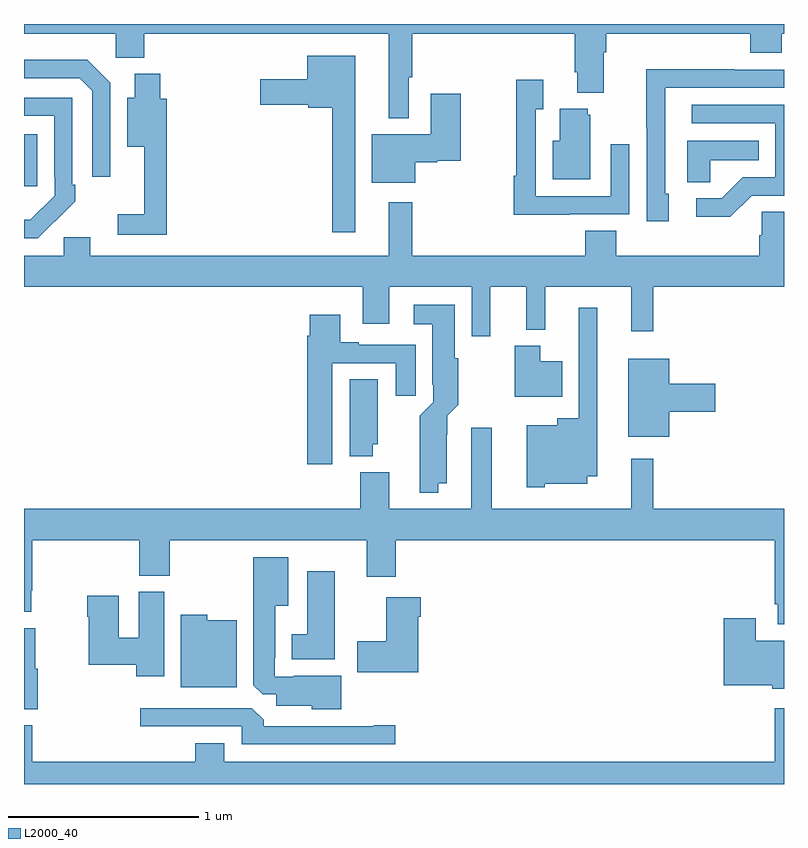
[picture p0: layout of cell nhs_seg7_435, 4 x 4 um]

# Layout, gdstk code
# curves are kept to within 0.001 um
import gdstk
lib = gdstk.Library(unit=1e-6, precision=1e-09)
def R(c, l, rs):  # rectangles x0, y0, x1, y1
    for r in rs: c.add(gdstk.rectangle(r[:2], r[2:], *l))
def P(c, l, *ps):  # polygons
    for p in ps: c.add(gdstk.Polygon(p, *l))
L2000_40 = (2000, 40)

nhs_seg7_435 = lib.new_cell('nhs_seg7_435')
R(nhs_seg7_435, L2000_40, [(145,1001.145,145.069,1001.419)])
P(nhs_seg7_435, L2000_40, [(147.025,1001.719),(147.043,1001.719),(147.043,1001.948),(147.899,1001.948),(147.899,1001.746),(147.911,1001.746),(147.911,1001.639),(148.051,1001.639),(148.051,1001.852),(148.064,1001.852),(148.064,1001.948),(148.823,1001.948),(148.823,1001.849),(148.988,1001.849),(148.988,1001.948),(149,1001.948),(149,1002),(145,1002),(145,1001.948),(145.482,1001.948),(145.482,1001.822),(145.634,1001.822),(145.634,1001.948),(146.921,1001.948),(146.921,1001.504),(147.025,1001.504)],
  [(146.743,1001.833),(146.492,1001.833),(146.492,1001.71),(146.244,1001.71),(146.244,1001.576),(146.496,1001.576),(146.496,1001.558),(146.622,1001.558),(146.622,1000.905),(146.743,1000.905)],
  [(145.455,1001.691),(145.334,1001.812),(145,1001.812),(145,1001.715),(145.293,1001.715),(145.359,1001.649),(145.359,1001.196),(145.455,1001.196)],
  [(148.393,1001.106),(148.374,1001.106),(148.374,1001.664),(149,1001.664),(149,1001.76),(148.739,1001.76),(148.739,1001.762),(148.276,1001.762),(148.276,1001.455),(148.278,1001.455),(148.278,1000.962),(148.393,1000.962)],
  [(145.751,1001.607),(145.718,1001.607),(145.718,1001.737),(145.583,1001.737),(145.583,1001.611),(145.544,1001.611),(145.544,1001.354),(145.634,1001.354),(145.634,1000.999),(145.494,1000.999),(145.494,1000.89),(145.751,1000.89)],
  [(147.869,1000.998),(148.185,1000.998),(148.185,1001.368),(148.089,1001.368),(148.089,1001.094),(147.693,1001.094),(147.693,1001.551),(147.733,1001.551),(147.733,1001.707),(147.592,1001.707),(147.592,1001.201),(147.577,1001.201),(147.577,1000.997),(147.869,1000.997)],
  [(147.058,1001.272),(147.174,1001.272),(147.174,1001.279),(147.298,1001.279),(147.298,1001.632),(147.14,1001.632),(147.14,1001.419),(146.831,1001.419),(146.831,1001.165),(147.058,1001.165)],
  [(145.163,1000.963),(145.164,1000.962),(145.269,1001.067),(145.269,1001.155),(145.254,1001.155),(145.254,1001.613),(145,1001.613),(145,1001.517),(145.158,1001.517),(145.158,1001.197),(145.161,1001.197),(145.161,1001.097),(145.033,1000.969),(145,1000.969),(145,1000.872),(145.072,1000.872)],
  [(148.83,1001.097),(149,1001.097),(149,1001.574),(148.515,1001.574),(148.515,1001.478),(148.953,1001.478),(148.953,1001.193),(148.784,1001.193),(148.673,1001.082),(148.539,1001.082),(148.539,1000.985),(148.717,1000.985)],
  [(147.979,1001.523),(147.968,1001.523),(147.968,1001.554),(147.821,1001.554),(147.821,1001.386),(147.782,1001.386),(147.782,1001.183),(147.979,1001.183)],
  [(148.611,1001.282),(148.868,1001.282),(148.868,1001.386),(148.49,1001.386),(148.49,1001.167),(148.611,1001.167)],
  [(147.455,1000.616),(147.644,1000.616),(147.644,1000.391),(147.743,1000.391),(147.743,1000.616),(148.196,1000.616),(148.196,1000.383),(148.313,1000.383),(148.313,1000.616),(149,1000.616),(149,1001.012),(148.884,1001.012),(148.884,1000.889),(148.871,1000.889),(148.871,1000.78),(148.118,1000.78),(148.118,1000.913),(147.953,1000.913),(147.953,1000.78),(147.043,1000.78),(147.043,1001.062),(146.921,1001.062),(146.921,1000.78),(145.348,1000.78),(145.348,1000.878),(145.209,1000.878),(145.209,1000.78),(145,1000.78),(145,1000.616),(146.783,1000.616),(146.783,1000.422),(146.923,1000.422),(146.923,1000.616),(147.357,1000.616),(147.357,1000.356),(147.455,1000.356)],
  [(147.181,999.584),(147.226,999.584),(147.227,999.938),(147.286,999.997),(147.286,1000.242),(147.268,1000.242),(147.268,1000.522),(147.051,1000.522),(147.051,1000.421),(147.149,1000.421),(147.149,1000.102),(147.153,1000.102),(147.153,1000.008),(147.083,999.938),(147.084,999.533),(147.181,999.533)],
  [(147.741,999.581),(147.964,999.581),(147.964,999.62),(148.018,999.62),(148.018,1000.507),(147.921,1000.507),(147.921,999.925),(147.806,999.925),(147.806,999.889),(147.647,999.889),(147.647,999.563),(147.741,999.563)],
  [(146.623,1000.215),(146.957,1000.215),(146.957,1000.044),(147.061,1000.044),(147.061,1000.311),(146.761,1000.311),(146.761,1000.324),(146.665,1000.324),(146.665,1000.471),(146.504,1000.471),(146.504,1000.358),(146.492,1000.358),(146.492,999.684),(146.623,999.684)],
  [(147.832,1000.225),(147.718,1000.225),(147.718,1000.306),(147.584,1000.306),(147.584,1000.037),(147.832,1000.037)],
  [(148.396,999.959),(148.639,999.959),(148.639,1000.106),(148.396,1000.106),(148.396,1000.237),(148.181,1000.237),(148.181,999.827),(148.396,999.827)],
  [(146.836,999.789),(146.863,999.789),(146.863,1000.13),(146.714,1000.13),(146.714,999.725),(146.836,999.725)],
  [(145,998.906),(145.038,998.906),(145.038,999.016),(145.043,999.016),(145.043,999.284),(145.607,999.284),(145.607,999.097),(145.767,999.097),(145.767,999.284),(146.804,999.284),(146.804,999.09),(146.957,999.09),(146.957,999.284),(148.95,999.284),(148.95,998.947),(148.967,998.947),(148.967,998.84),(149,998.84),(149,999.448),(148.313,999.448),(148.313,999.712),(148.195,999.712),(148.195,999.448),(147.463,999.448),(147.463,999.874),(147.353,999.874),(147.353,999.448),(146.923,999.448),(146.923,999.64),(146.771,999.64),(146.771,999.448),(145,999.448)],
  [(146.671,998.569),(146.419,998.569),(146.419,998.565),(146.319,998.565),(146.319,998.665),(146.323,998.665),(146.323,998.939),(146.392,998.939),(146.392,999.193),(146.207,999.193),(146.207,998.521),(146.256,998.472),(146.327,998.472),(146.327,998.411),(146.514,998.411),(146.514,998.393),(146.671,998.393)],
  [(146.635,999.121),(146.492,999.121),(146.492,998.788),(146.408,998.788),(146.408,998.657),(146.635,998.657)],
  [(145.738,999.012),(145.604,999.012),(145.604,998.769),(145.498,998.769),(145.498,998.992),(145.333,998.992),(145.333,998.879),(145.34,998.879),(145.34,998.627),(145.592,998.627),(145.592,998.568),(145.738,998.568)],
  [(147.076,998.879),(147.089,998.879),(147.089,998.983),(146.906,998.983),(146.906,998.751),(146.754,998.751),(146.754,998.588),(147.076,998.588)],
  [(146.119,998.863),(145.965,998.863),(145.965,998.89),(145.826,998.89),(145.826,998.51),(146.119,998.51)],
  [(149,998.755),(148.852,998.755),(148.852,998.872),(148.682,998.872),(148.682,998.519),(148.938,998.519),(148.938,998.501),(149,998.501)],
  [(145.073,998.607),(145.06,998.607),(145.06,998.821),(145,998.821),(145,998.393),(145.073,998.393)],
  [(146.953,998.309),(146.84,998.309),(146.84,998.304),(146.261,998.304),(146.261,998.338),(146.199,998.4),(145.611,998.4),(145.611,998.304),(146.145,998.304),(146.145,998.208),(146.953,998.208)],
  [(149,998.398),(148.95,998.398),(148.95,998.116),(146.053,998.116),(146.053,998.215),(145.901,998.215),(145.901,998.116),(145.043,998.116),(145.043,998.308),(145,998.308),(145,998),(149,998)])

lib.write_gds('nhs_seg7_435.gds')
